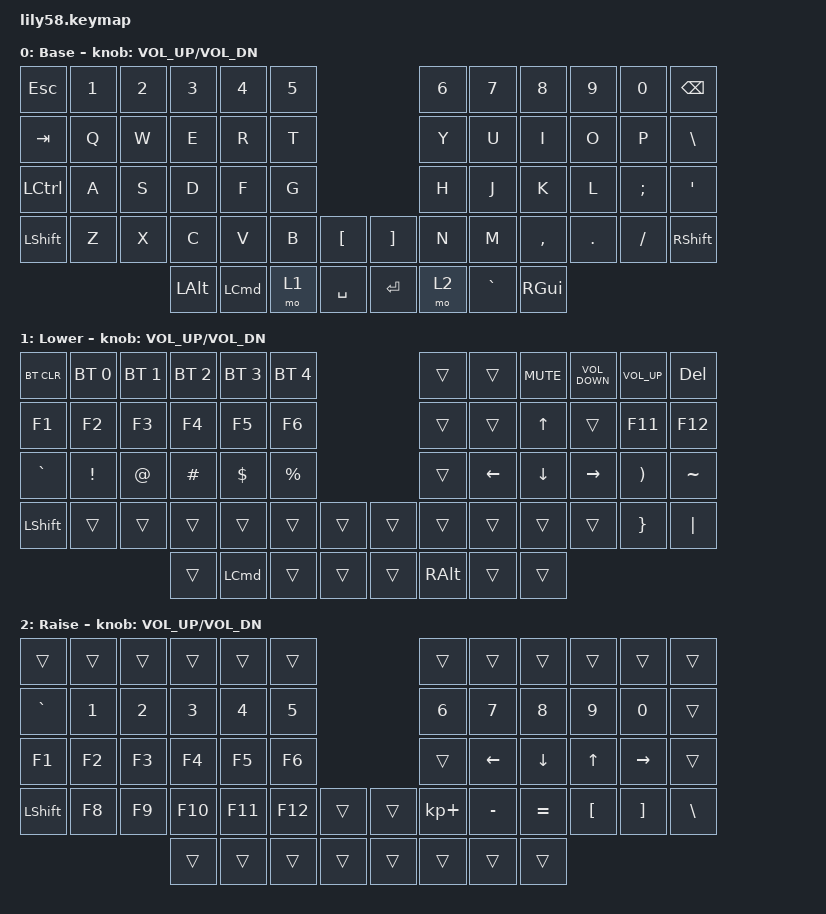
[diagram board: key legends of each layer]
/*
 * Copyright (c) 2020 The ZMK Contributors
 *
 * SPDX-License-Identifier: MIT
 */

#include <behaviors.dtsi>
#include <dt-bindings/zmk/bt.h>
#include <dt-bindings/zmk/keys.h>

/ {
    keymap {
        compatible = "zmk,keymap";

        default_layer {
            // ------------------------------------------------------------------------------------------------------------
            // |  ESC  |  1  |  2  |  3   |  4   |  5   |                   |  6   |  7    |  8    |  9   |   0   |   `   |
            // |  TAB  |  Q  |  W  |  E   |  R   |  T   |                   |  Y   |  U    |  I    |  O   |   P   |   -   |
            // |  CTRL |  A  |  S  |  D   |  F   |  G   |                   |  H   |  J    |  K    |  L   |   ;   |   '   |
            // | SHIFT |  Z  |  X  |  C   |  V   |  B   |   "["  |  |  "]"  |  N   |  M    |  ,    |  .   |   /   | SHIFT |
            //                     | ALT  | GUI  | LOWER|  SPACE |  | ENTER | RAISE| BSPC  | GUI   |

            display-name = "Base";
            bindings = <
&kp ESC           &kp N1  &kp N2  &kp N3        &kp N4            &kp N5                                &kp N6  &kp N7     &kp N8     &kp N9   &kp N0    &kp BACKSPACE
&kp TAB           &kp Q   &kp W   &kp E         &kp R             &kp T                                 &kp Y   &kp U      &kp I      &kp O    &kp P     &kp BACKSLASH
&kp LEFT_CONTROL  &kp A   &kp S   &kp D         &kp F             &kp G                                 &kp H   &kp J      &kp K      &kp L    &kp SEMI  &kp SQT
&kp LSHFT         &kp Z   &kp X   &kp C         &kp V             &kp B   &kp LEFT_BRACKET    &kp RBKT  &kp N   &kp M      &kp COMMA  &kp DOT  &kp FSLH  &kp RSHFT
                                  &kp LEFT_ALT  &kp LEFT_COMMAND  &mo 1   &kp SPACE           &kp RET   &mo 2   &kp GRAVE  &kp RGUI
            >;

            sensor-bindings = <&inc_dec_kp C_VOL_UP C_VOL_DN>;
        };

        lower_layer {
            // ------------------------------------------------------------------------------------------------------------
            // | BTCLR | BT1 | BT2 |  BT3 |  BT4 |  BT5 |                   |      |       |       |      |       |       |
            // |  F1   |  F2 |  F3 |  F4  |  F5  |  F6  |                   |  F7  |  F8   |  F9   |  F10 |  F11  |  F12  |
            // |   `   |  !  |  @  |  #   |  $   |  %   |                   |  ^   |  &    |  *    |  (   |   )   |   ~   |
            // |       |     |     |      |      |      |        |  |       |      |  _    |  +    |  {   |   }   |  "|"  |
            //                     |      |      |      |        |  |       |      |       |       |

            display-name = "Lower";
            bindings = <
&bt BT_CLR      &bt BT_SEL 0  &bt BT_SEL 1  &bt BT_SEL 2  &bt BT_SEL 3      &bt BT_SEL 4                    &trans         &trans          &kp C_MUTE      &kp C_VOLUME_DOWN  &kp C_VOLUME_UP  &kp DELETE
&kp F1          &kp F2        &kp F3        &kp F4        &kp F5            &kp F6                          &trans         &trans          &kp UP_ARROW    &trans             &kp F11          &kp F12
&kp GRAVE       &kp EXCL      &kp AT        &kp HASH      &kp DOLLAR        &kp PRCNT                       &trans         &kp LEFT_ARROW  &kp DOWN_ARROW  &kp RIGHT_ARROW    &kp RPAR         &kp TILDE
&kp LEFT_SHIFT  &trans        &trans        &trans        &trans            &trans        &trans    &trans  &trans         &trans          &trans          &trans             &kp RBRC         &kp PIPE
                                            &trans        &kp LEFT_COMMAND  &trans        &trans    &trans  &kp RIGHT_ALT  &trans          &trans
            >;

            sensor-bindings = <&inc_dec_kp C_VOL_UP C_VOL_DN>;
        };

        raise_layer {
            // ------------------------------------------------------------------------------------------------------------
            // |       |     |     |      |      |      |                   |      |       |       |      |       |       |
            // |   `   |  1  |  2  |  3   |  4   |  5   |                   |  6   |   7   |   8   |  9   |   0   |       |
            // |   F1  |  F2 |  F3 |  F4  |  F5  |  F6  |                   |      |   <-  |   v   |  ^   |  ->   |       |
            // |   F7  |  F8 |  F9 |  F10 |  F11 |  F12 |        |  |       |  +   |   -   |   =   |  [   |   ]   |   \   |
            //                     |      |      |      |        |  |       |      |       |       |

            display-name = "Raise";
            bindings = <
&trans          &trans  &trans  &trans   &trans   &trans                     &trans       &trans     &trans     &trans    &trans     &trans
&kp GRAVE       &kp N1  &kp N2  &kp N3   &kp N4   &kp N5                     &kp N6       &kp N7     &kp N8     &kp N9    &kp N0     &trans
&kp F1          &kp F2  &kp F3  &kp F4   &kp F5   &kp F6                     &trans       &kp LEFT   &kp DOWN   &kp UP    &kp RIGHT  &trans
&kp LEFT_SHIFT  &kp F8  &kp F9  &kp F10  &kp F11  &kp F12  &trans    &trans  &kp KP_PLUS  &kp MINUS  &kp EQUAL  &kp LBKT  &kp RBKT   &kp BSLH
                                &trans   &trans   &trans   &trans    &trans  &trans       &trans     &trans
            >;

            sensor-bindings = <&inc_dec_kp C_VOL_UP C_VOL_DN>;
        };
    };
};
